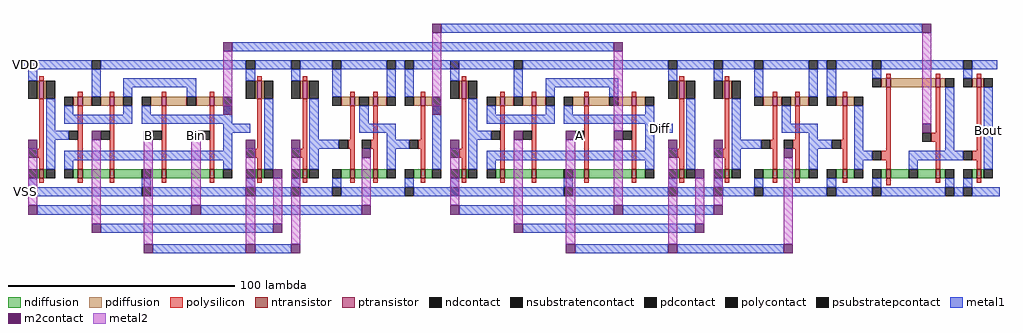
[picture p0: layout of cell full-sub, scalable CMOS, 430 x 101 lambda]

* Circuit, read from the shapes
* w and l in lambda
.subckt full-sub A B Bin Bout Diff VDD VSS
M1 half-sub_0/2XOR_0/Bbar Bin VSS VSS nfet w=4 l=2
M2 n1 half-sub_0/2XOR_0/Bbar half-sub-2_0/B VSS nfet w=4 l=2
M3 VSS half-sub_0/2XOR_0/Abar n1 VSS nfet w=4 l=2
M4 n2 B VSS VSS nfet w=4 l=2
M5 half-sub-2_0/B Bin n2 VSS nfet w=4 l=2
M6 half-sub_0/2XOR_0/Abar B VSS VSS nfet w=4 l=2
M7 half-sub_0/2AND_0/A B VSS VSS nfet w=4 l=2
M8 n3 half-sub_0/2AND_0/A VSS VSS nfet w=4 l=2
M9 half-sub_0/2AND_0/INV Bin n3 VSS nfet w=4 l=2
M10 2or_0/B half-sub_0/2AND_0/INV VSS VSS nfet w=4 l=2
M11 half-sub-2_0/2XOR_0/Bbar half-sub-2_0/B VSS VSS nfet w=4 l=2
M12 n4 half-sub-2_0/2XOR_0/Bbar Diff VSS nfet w=4 l=2
M13 VSS half-sub-2_0/2XOR_0/Abar n4 VSS nfet w=4 l=2
M14 n5 A VSS VSS nfet w=4 l=2
M15 Diff half-sub-2_0/B n5 VSS nfet w=4 l=2
M16 half-sub-2_0/2XOR_0/Abar A VSS VSS nfet w=4 l=2
M17 half-sub-2_0/2AND_0/A half-sub-2_0/B VSS VSS nfet w=4 l=2
M18 n6 half-sub-2_0/2AND_0/A VSS VSS nfet w=4 l=2
M19 half-sub-2_0/2AND_0/INV A n6 VSS nfet w=4 l=2
M20 2or_0/A half-sub-2_0/2AND_0/INV VSS VSS nfet w=4 l=2
M21 2or_0/INV 2or_0/A VSS VSS nfet w=4 l=2
M22 VSS 2or_0/B 2or_0/INV VSS nfet w=4 l=2
M23 Bout 2or_0/INV VSS VSS nfet w=4 l=2
M24 half-sub_0/2XOR_0/Bbar Bin VDD VDD pfet w=8 l=2
M25 VDD half-sub_0/2XOR_0/Bbar n7 VDD pfet w=4 l=2
M26 n7 half-sub_0/2XOR_0/Abar VDD VDD pfet w=4 l=2
M27 n7 B half-sub-2_0/B VDD pfet w=4 l=2
M28 half-sub-2_0/B Bin n7 VDD pfet w=4 l=2
M29 half-sub_0/2XOR_0/Abar B VDD VDD pfet w=8 l=2
M30 half-sub_0/2AND_0/A B VDD VDD pfet w=8 l=2
M31 half-sub_0/2AND_0/INV half-sub_0/2AND_0/A VDD VDD pfet w=4 l=2
M32 VDD Bin half-sub_0/2AND_0/INV VDD pfet w=4 l=2
M33 2or_0/B half-sub_0/2AND_0/INV VDD VDD pfet w=4 l=2
M34 half-sub-2_0/2XOR_0/Bbar half-sub-2_0/B VDD VDD pfet w=8 l=2
M35 VDD half-sub-2_0/2XOR_0/Bbar n8 VDD pfet w=4 l=2
M36 n8 half-sub-2_0/2XOR_0/Abar VDD VDD pfet w=4 l=2
M37 n8 A Diff VDD pfet w=4 l=2
M38 Diff half-sub-2_0/B n8 VDD pfet w=4 l=2
M39 half-sub-2_0/2XOR_0/Abar A VDD VDD pfet w=8 l=2
M40 half-sub-2_0/2AND_0/A half-sub-2_0/B VDD VDD pfet w=8 l=2
M41 half-sub-2_0/2AND_0/INV half-sub-2_0/2AND_0/A VDD VDD pfet w=4 l=2
M42 VDD A half-sub-2_0/2AND_0/INV VDD pfet w=4 l=2
M43 2or_0/A half-sub-2_0/2AND_0/INV VDD VDD pfet w=4 l=2
M44 n9 2or_0/A VDD VDD pfet w=4 l=2
M45 2or_0/INV 2or_0/B n9 VDD pfet w=4 l=2
M46 Bout 2or_0/INV VDD VDD pfet w=4 l=2
.ends

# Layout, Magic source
magic
tech scmos
<< polycontact >>
rect 243 50 247 54
<< metal1 >>
rect 184 97 396 101
rect 92 89 260 93
rect 0 81 2 85
rect 182 81 186 85
rect 369 81 373 85
rect 274 53 286 57
rect 370 41 374 45
rect 423 37 427 73
rect 0 25 2 29
rect 183 25 187 29
rect 368 25 372 29
<< m2contact >>
rect 180 97 184 101
rect 396 97 400 101
rect 88 89 92 93
rect 260 89 264 93
rect 88 61 92 65
rect 180 61 184 65
rect 53 50 57 54
rect 74 50 78 54
rect 396 53 400 57
<< metal2 >>
rect 88 65 92 89
rect 180 65 184 97
rect 260 54 264 89
rect 396 57 400 97
use 2or  2or_0
transform 1 0 376 0 1 34
box -4 -9 54 51
use half-sub-2  half-sub-2_0
transform 1 0 186 0 1 0
box 0 0 184 85
use half-sub  half-sub_0
transform 1 0 0 0 1 0
box 0 0 184 85
<< labels >>
rlabel m2contact 55 52 55 52 1 B
rlabel m2contact 76 52 76 52 1 Bin
rlabel polycontact 245 52 245 52 1 A
rlabel metal1 425 54 425 54 7 Bout
rlabel metal1 280 55 280 55 1 Diff
rlabel metal1 1 83 1 83 3 VDD
rlabel metal1 1 27 1 27 3 VSS
<< end >>

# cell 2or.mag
magic
tech scmos
<< ntransistor >>
rect 4 -1 6 3
rect 26 -1 28 3
rect 44 -1 46 3
<< ptransistor >>
rect 4 39 6 43
rect 26 39 28 43
rect 44 39 46 43
<< ndiffusion >>
rect 2 -1 4 3
rect 6 -1 14 3
rect 18 -1 26 3
rect 28 -1 30 3
rect 42 -1 44 3
rect 46 -1 47 3
<< pdiffusion >>
rect 2 39 4 43
rect 6 39 26 43
rect 28 39 30 43
rect 42 39 44 43
rect 46 39 47 43
<< ndcontact >>
rect -2 -1 2 3
rect 14 -1 18 3
rect 30 -1 34 3
rect 38 -1 42 3
rect 47 -1 51 3
<< pdcontact >>
rect -2 39 2 43
rect 30 39 34 43
rect 38 39 42 43
rect 47 39 51 43
<< psubstratepcontact >>
rect -2 -9 2 -5
rect 30 -9 34 -5
rect 38 -9 42 -5
<< nsubstratencontact >>
rect -2 47 2 51
rect 38 47 42 51
<< polysilicon >>
rect 4 43 6 45
rect 26 43 28 45
rect 44 43 46 45
rect 4 11 6 39
rect 26 19 28 39
rect 24 15 28 19
rect 2 7 6 11
rect 4 3 6 7
rect 26 3 28 15
rect 44 11 46 39
rect 42 7 46 11
rect 44 3 46 7
rect 4 -4 6 -1
rect 26 -3 28 -1
rect 44 -3 46 -1
<< polycontact >>
rect 20 15 24 19
rect -2 7 2 11
rect 38 7 42 11
<< metal1 >>
rect -4 47 -2 51
rect 2 47 38 51
rect 42 47 53 51
rect -2 43 2 47
rect 38 43 42 47
rect 30 11 34 39
rect 14 7 38 11
rect 14 3 18 7
rect 47 3 51 39
rect -2 -5 2 -1
rect 30 -5 34 -1
rect 38 -5 42 -1
rect -4 -9 -2 -5
rect 2 -9 30 -5
rect 34 -9 38 -5
rect 42 -9 54 -5
<< labels >>
rlabel polycontact 0 9 0 9 1 A
rlabel polycontact 40 9 40 9 1 INV
rlabel metal1 49 10 49 10 1 Y
rlabel psubstratepcontact 0 -7 0 -7 1 VSS
rlabel psubstratepcontact 32 -7 32 -7 1 VSS
rlabel psubstratepcontact 40 -7 40 -7 1 VSS
rlabel polycontact 22 17 22 17 1 B
rlabel nsubstratencontact 0 49 0 49 4 VDD
<< end >>

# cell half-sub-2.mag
magic
tech scmos
<< polycontact >>
rect 57 50 61 54
rect 78 50 82 54
<< metal1 >>
rect 0 81 2 85
rect 112 81 116 85
rect 132 81 135 85
rect 88 57 92 65
rect 88 53 100 57
rect 88 37 92 53
rect 130 46 139 50
rect 180 37 184 65
rect 0 25 2 29
rect 112 25 116 29
rect 132 25 135 29
rect 78 17 118 21
rect 102 0 149 4
<< m2contact >>
rect 118 46 122 50
rect 149 42 153 46
rect 118 17 122 21
rect 149 0 153 4
<< metal2 >>
rect 118 21 122 46
rect 149 4 153 42
use 2AND  2AND_0 ~/cmpe480/proj/full-sub
transform 1 0 132 0 1 25
box 2 0 52 60
use 2XOR  2XOR_0 ~/cmpe480/proj/full-sub
transform 1 0 18 0 1 25
box -18 -25 96 60
use INV  INV_0 ~/cmpe480/proj/full-sub
transform 1 0 121 0 1 24
box -5 1 11 61
<< labels >>
rlabel metal1 1 83 1 83 4 VDD
rlabel metal1 1 27 1 27 3 VSS
rlabel polycontact 59 52 59 52 1 A
rlabel polycontact 80 52 80 52 1 B
rlabel metal1 90 55 90 55 1 Diff
rlabel metal1 182 51 182 51 7 Bout
<< end >>

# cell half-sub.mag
magic
tech scmos
<< polycontact >>
rect 57 50 61 54
rect 78 50 82 54
<< metal1 >>
rect 0 81 2 85
rect 112 81 116 85
rect 132 81 135 85
rect 88 57 92 65
rect 88 53 100 57
rect 88 37 92 53
rect 130 46 139 50
rect 180 37 184 65
rect 0 25 2 29
rect 112 25 116 29
rect 132 25 135 29
rect 78 17 149 21
rect 102 0 118 4
<< m2contact >>
rect 118 46 122 50
rect 149 42 153 46
rect 149 17 153 21
rect 118 0 122 4
<< metal2 >>
rect 118 4 122 46
rect 149 21 153 42
use 2AND  2AND_0
transform 1 0 132 0 1 25
box 2 0 52 60
use 2XOR  2XOR_0
transform 1 0 18 0 1 25
box -18 -25 96 60
use INV  INV_0
transform 1 0 121 0 1 24
box -5 1 11 61
<< labels >>
rlabel polycontact 59 52 59 52 1 A
rlabel polycontact 80 52 80 52 1 B
rlabel metal1 94 55 94 55 1 Diff
rlabel metal1 182 48 182 48 7 Bout
rlabel metal1 1 83 1 83 4 VDD
rlabel metal1 1 27 1 27 3 VSS
<< end >>

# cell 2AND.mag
magic
tech scmos
<< ntransistor >>
rect 12 8 14 12
rect 22 8 24 12
rect 43 8 45 12
<< ptransistor >>
rect 12 40 14 44
rect 22 40 24 44
rect 43 40 45 44
<< ndiffusion >>
rect 8 8 12 12
rect 14 8 22 12
rect 24 8 28 12
rect 40 8 43 12
rect 45 8 48 12
<< pdiffusion >>
rect 8 40 12 44
rect 14 40 16 44
rect 20 40 22 44
rect 24 40 28 44
rect 40 40 43 44
rect 45 40 48 44
<< ndcontact >>
rect 4 8 8 12
rect 28 8 32 12
rect 36 8 40 12
rect 48 8 52 12
<< pdcontact >>
rect 4 40 8 44
rect 16 40 20 44
rect 28 40 32 44
rect 36 40 40 44
rect 48 40 52 44
<< psubstratepcontact >>
rect 4 0 8 4
rect 36 0 40 4
<< nsubstratencontact >>
rect 4 56 8 60
rect 28 56 32 60
rect 36 56 40 60
<< polysilicon >>
rect 12 44 14 46
rect 22 44 24 46
rect 43 44 45 46
rect 12 25 14 40
rect 22 25 24 40
rect 43 25 45 40
rect 11 21 14 25
rect 21 21 24 25
rect 42 21 45 25
rect 12 12 14 21
rect 22 12 24 21
rect 43 12 45 21
rect 12 6 14 8
rect 22 6 24 8
rect 43 6 45 8
<< polycontact >>
rect 7 21 11 25
rect 17 21 21 25
rect 38 21 42 25
<< metal1 >>
rect 2 56 4 60
rect 8 56 28 60
rect 32 56 36 60
rect 40 56 52 60
rect 4 44 8 56
rect 28 44 32 56
rect 36 44 40 56
rect 16 32 20 40
rect 16 28 32 32
rect 28 25 32 28
rect 28 21 38 25
rect 28 12 32 21
rect 48 12 52 40
rect 4 4 8 8
rect 36 4 40 8
rect 2 0 4 4
rect 8 0 36 4
rect 40 0 52 4
<< labels >>
rlabel polycontact 19 23 19 23 1 B
rlabel polycontact 9 23 9 23 1 A
rlabel psubstratepcontact 6 2 6 2 1 VSS
rlabel polycontact 40 23 40 23 1 INV
rlabel metal1 50 25 50 25 1 Y
rlabel psubstratepcontact 38 2 38 2 1 VSS
rlabel nsubstratencontact 38 58 38 58 1 VDD
rlabel nsubstratencontact 30 58 30 58 1 VDD
rlabel nsubstratencontact 6 58 6 58 1 VDD
<< end >>

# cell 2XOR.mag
magic
tech scmos
<< ntransistor >>
rect 6 8 8 12
rect 20 8 22 12
rect 43 8 45 12
rect 64 8 66 12
<< ptransistor >>
rect 6 40 8 44
rect 20 40 22 44
rect 43 40 45 44
rect 64 40 66 44
<< ndiffusion >>
rect 4 8 6 12
rect 8 8 20 12
rect 22 8 34 12
rect 38 8 43 12
rect 45 8 64 12
rect 66 8 70 12
<< pdiffusion >>
rect 4 40 6 44
rect 8 40 12 44
rect 16 40 20 44
rect 22 40 26 44
rect 38 40 43 44
rect 45 40 54 44
rect 58 40 64 44
rect 66 40 70 44
<< ndcontact >>
rect 0 8 4 12
rect 34 8 38 12
rect 70 8 74 12
<< pdcontact >>
rect 0 40 4 44
rect 12 40 16 44
rect 26 40 30 44
rect 34 40 38 44
rect 54 40 58 44
rect 70 40 74 44
<< psubstratepcontact >>
rect 34 0 38 4
<< nsubstratencontact >>
rect 12 56 16 60
<< polysilicon >>
rect 6 44 8 46
rect 20 44 22 46
rect 43 44 45 46
rect 64 44 66 46
rect 6 12 8 40
rect 20 12 22 40
rect 43 12 45 40
rect 64 12 66 40
rect 6 6 8 8
rect 20 6 22 8
rect 43 6 45 8
rect 64 6 66 8
<< polycontact >>
rect 2 25 6 29
rect 16 25 20 29
rect 39 25 43 29
rect 60 25 64 29
<< metal1 >>
rect -18 56 -12 60
rect -2 56 12 60
rect 16 56 80 60
rect 12 44 16 56
rect 26 48 58 52
rect 26 44 30 48
rect 54 44 58 48
rect 0 36 4 40
rect 26 36 30 40
rect 0 32 30 36
rect 34 36 38 40
rect 70 36 74 40
rect 34 32 74 36
rect -4 25 2 29
rect 70 28 82 32
rect 70 20 74 28
rect 0 16 74 20
rect 0 12 4 16
rect 70 12 74 16
rect 34 4 38 8
rect -18 0 -12 4
rect -2 0 34 4
rect 38 0 78 4
rect -12 -8 56 -4
rect 16 -16 92 -12
rect 39 -25 80 -21
<< m2contact >>
rect 12 25 16 29
rect 35 25 39 29
rect 56 25 60 29
rect -16 21 -12 25
rect 80 21 84 25
rect 92 8 96 12
rect -16 -8 -12 -4
rect 56 -8 60 -4
rect 12 -16 16 -12
rect 92 -16 96 -12
rect 35 -25 39 -21
rect 80 -25 84 -21
<< metal2 >>
rect -16 -4 -12 21
rect 12 -12 16 25
rect 35 -21 39 25
rect 56 -4 60 25
rect 80 -21 84 21
rect 92 -12 96 8
use INV  INV_1
transform 1 0 -13 0 1 -1
box -5 1 11 61
use INV  INV_2
transform 1 0 83 0 1 -1
box -5 1 11 61
<< labels >>
rlabel nsubstratencontact 14 58 14 58 5 VDD
rlabel metal1 -17 58 -17 58 1 VDD
rlabel metal1 -17 2 -17 2 1 VSS
rlabel psubstratepcontact 36 2 36 2 1 VSS
rlabel metal1 80 30 80 30 1 Y
rlabel polycontact 41 27 41 27 1 A
rlabel polycontact 62 27 62 27 1 B
rlabel polycontact 18 27 18 27 1 Abar
rlabel polycontact 4 27 4 27 1 Bbar
<< end >>

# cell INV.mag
magic
tech scmos
<< ntransistor >>
rect 2 9 4 13
<< ptransistor >>
rect 2 44 4 52
<< ndiffusion >>
rect 1 9 2 13
rect 4 9 5 13
<< pdiffusion >>
rect 1 44 2 52
rect 4 44 5 52
<< ndcontact >>
rect -3 9 1 13
rect 5 9 9 13
<< pdcontact >>
rect -3 44 1 52
rect 5 44 9 52
<< psubstratepcontact >>
rect -3 1 1 5
<< nsubstratencontact >>
rect -3 57 1 61
<< polysilicon >>
rect 2 52 4 54
rect 2 22 4 44
rect 1 18 4 22
rect 2 13 4 18
rect 2 7 4 9
<< polycontact >>
rect -3 18 1 22
<< metal1 >>
rect -5 57 -3 61
rect 1 57 11 61
rect -3 52 1 57
rect 5 13 9 44
rect -3 5 1 9
rect -5 1 -3 5
rect 1 1 11 5
<< labels >>
rlabel psubstratepcontact -1 3 -1 3 1 VSS
rlabel polycontact -1 20 -1 20 1 A
rlabel metal1 7 25 7 25 1 Y
rlabel nsubstratencontact -1 59 -1 59 1 VDD
<< end >>
